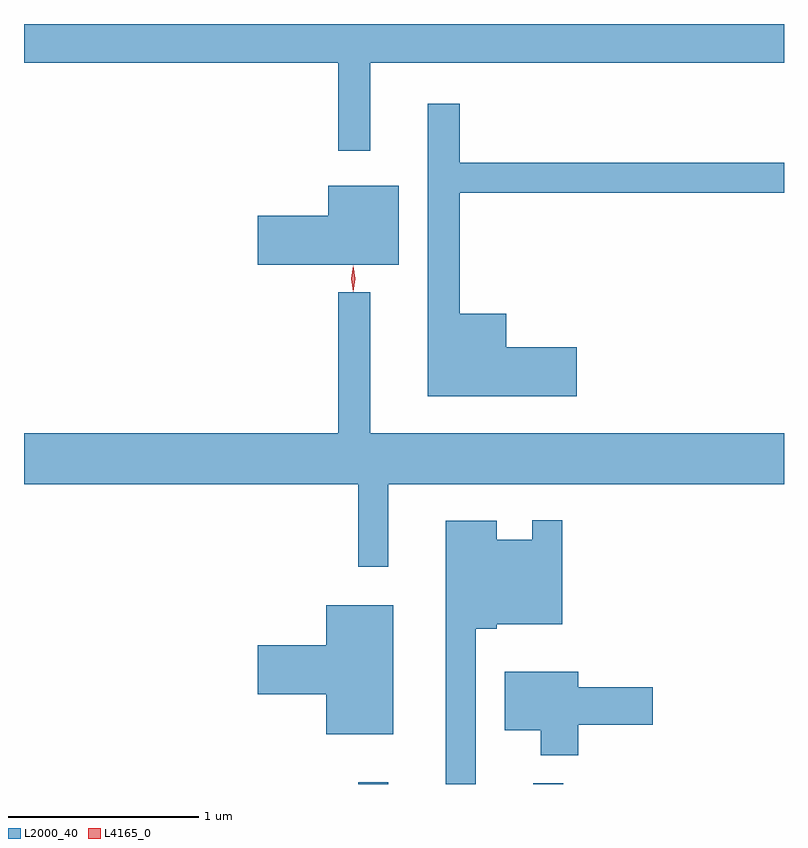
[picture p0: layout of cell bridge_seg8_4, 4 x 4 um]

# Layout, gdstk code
import gdstk
lib = gdstk.Library(unit=1e-6, precision=1e-09)
def R(c, l, rs):  # rectangles x0, y0, x1, y1
    for r in rs: c.add(gdstk.rectangle(r[:2], r[2:], *l))
def P(c, l, *ps):  # polygons
    for p in ps: c.add(gdstk.Polygon(p, *l))
L2000_40 = (2000, 40)
L4165_0 = (4165, 0)

bridge_seg8_4 = lib.new_cell('bridge_seg8_4')
R(bridge_seg8_4, L2000_40, [(1658.826,1908.099,1658.984,1908.108), (1659.746,1908.099,1659.904,1908.103)])
P(bridge_seg8_4, L2000_40, [(1658.889,1911.896),(1661.066,1911.896),(1661.066,1912.099),(1657.066,1912.099),(1657.066,1911.896),(1658.721,1911.896),(1658.721,1911.433),(1658.889,1911.433)],
  [(1659.974,1910.399),(1659.604,1910.399),(1659.604,1910.574),(1659.359,1910.574),(1659.359,1911.211),(1661.066,1911.211),(1661.066,1911.369),(1659.359,1911.369),(1659.359,1911.678),(1659.191,1911.678),(1659.191,1910.141),(1659.974,1910.141)],
  [(1659.039,1911.249),(1658.666,1911.249),(1658.666,1911.089),(1658.296,1911.089),(1658.296,1910.831),(1659.039,1910.831)],
  [(1658.984,1909.676),(1661.066,1909.676),(1661.066,1909.944),(1658.889,1909.944),(1658.889,1910.688),(1658.721,1910.688),(1658.721,1909.944),(1657.066,1909.944),(1657.066,1909.676),(1658.826,1909.676),(1658.826,1909.243),(1658.984,1909.243)],
  [(1659.444,1908.916),(1659.554,1908.916),(1659.554,1908.941),(1659.899,1908.941),(1659.899,1909.488),(1659.741,1909.488),(1659.741,1909.384),(1659.554,1909.384),(1659.554,1909.484),(1659.286,1909.484),(1659.286,1908.099),(1659.444,1908.099)],
  [(1659.009,1909.039),(1658.656,1909.039),(1658.656,1908.829),(1658.296,1908.829),(1658.296,1908.571),(1658.656,1908.571),(1658.656,1908.361),(1659.009,1908.361)],
  [(1659.984,1908.411),(1660.374,1908.411),(1660.374,1908.609),(1659.984,1908.609),(1659.984,1908.689),(1659.596,1908.689),(1659.596,1908.381),(1659.786,1908.381),(1659.786,1908.251),(1659.984,1908.251)])
P(bridge_seg8_4, L4165_0, [(1658.799,1910.69),(1658.789,1910.758),(1658.798,1910.826),(1658.798,1910.826),(1658.799,1910.826),(1658.809,1910.758),(1658.8,1910.69),(1658.8,1910.69)],
  [(1658.799,1910.693),(1658.789,1910.756),(1658.798,1910.819),(1658.798,1910.82),(1658.799,1910.819),(1658.809,1910.756),(1658.8,1910.693),(1658.8,1910.693)])

lib.write_gds('bridge_seg8_4.gds')
